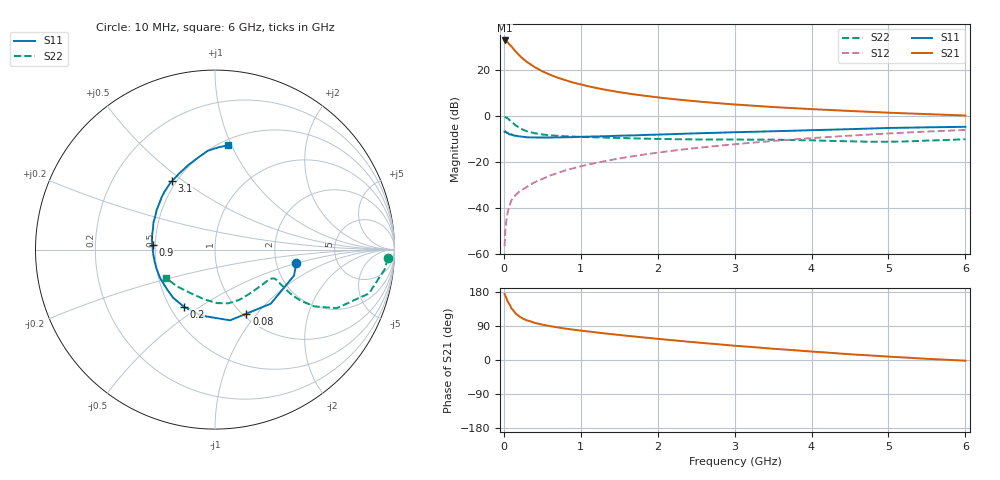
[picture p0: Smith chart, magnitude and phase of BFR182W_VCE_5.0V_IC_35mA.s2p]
! (c) 2017  Infineon Technologies AG, Munich
! Infineon Technologies  Discrete & RF Semiconductors
! BFR182W
! VCE =  5.0 V,  IC =  35 mA
! Common Emitter S-Parameters:  Jan 2017
# GHz  S  MA  R  50
!  f  S11  S21  S12  S22
! GHz  MAG  ANG  MAG  ANG  MAG  ANG  MAG  ANG
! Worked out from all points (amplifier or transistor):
!   77 points, 10 MHz to 6 GHz, reference 50 ohm
!   highest |S21| = 32.8 dB at 10 MHz (marker M1)
!   |S21| within 3 dB of that: start of sweep to 108.5 MHz
!   unconditionally stable (mu >= 1): 583.3 MHz to 2.206 GHz
!   at 130 MHz: K = 0.53, MSG = 32.1 dB, |S12| = -35.1 dB
!   at 2.2 GHz: K = 1.00, MAG = 11.1 dB, |S12| = -15.0 dB
!   at 6 GHz: K = 0.86, MSG = 3.1 dB, |S12| = -6.0 dB
!   S11 on the Smith chart (normalised r, x): 10 MHz: 2.60, -0.48; 80 MHz: 1.04, -0.88; 200 MHz: 0.59, -0.43; 900 MHz: 0.48, +0.03; 3.1 GHz: 0.47, +0.45; 6 GHz: 0.55, +0.97
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0.01  0.4593 -9.1  43.82 174.2  0.0015 86.8  0.9646 -2.9
0.02  0.4635 -18.2  43.71 169.3  0.0034 94.6  0.9513 -6.7
0.05  0.433 -44.1  39.96 154.5  0.0081 75.2  0.8922 -15.9
0.08  0.3975 -63.9  34.85 144.3  0.0122 69.9  0.8053 -21.4
0.1  0.4029 -77.9  32.22 135.8  0.0149 68.0  0.7523 -25.7
0.15  0.3757 -101.9  25.67 123.5  0.0192 64.3  0.6357 -29.8
0.2  0.3625 -118.5  20.86 115.1  0.0228 64.8  0.5574 -30.8
0.25  0.3557 -130.8  17.49 109.0  0.0258 65.9  0.5051 -30.6
0.3  0.3471 -140.1  14.91 104.6  0.029 66.3  0.4677 -29.8
0.4  0.3445 -152.6  11.57 98.0  0.0365 69.8  0.4239 -28.2
0.5  0.3426 -162.1  9.386 93.3  0.0432 71.0  0.3988 -27.1
0.6  0.343 -169.5  7.913 89.4  0.051 71.5  0.383 -26.3
0.7  0.3445 -174.9  6.826 86.1  0.0582 72.9  0.3726 -26.0
0.9  0.3491 175.7  5.356 80.2  0.0734 73.5  0.3586 -26.6
1.1  0.3586 167.8  4.435 75.2  0.0888 73.3  0.3491 -28.1
1.3  0.3644 161.3  3.783 70.4  0.104 73.0  0.3417 -30.2
1.5  0.3751 155.9  3.309 66.1  0.1202 72.3  0.3343 -33.1
2.1  0.4009 141.4  2.443 54.0  0.1689 69.1  0.3174 -44.4
3.1  0.4503 122.2  1.743 36.2  0.2531 61.5  0.3089 -67.4
4.1  0.499 106.0  1.391 21.0  0.3409 52.5  0.2942 -90.3
5.1  0.5555 92.9  1.167 7.8  0.4274 42.2  0.2792 -122.3
6  0.586 82.7  1.028 -1.8  0.5 32.5  0.3153 -149.7
